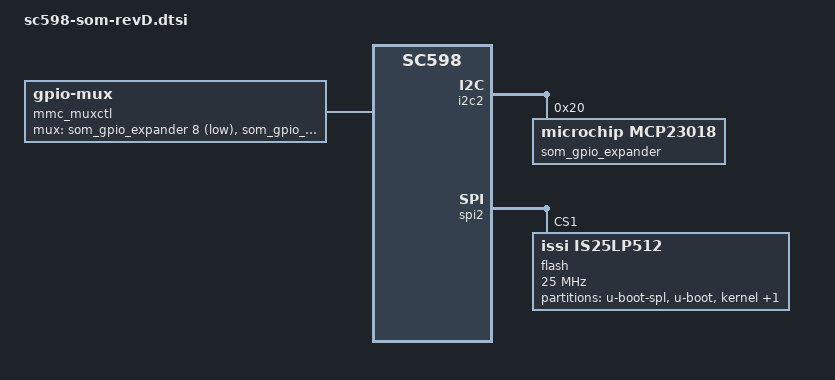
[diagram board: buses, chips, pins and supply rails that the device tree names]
// SPDX-License-Identifier: GPL-2.0
/*
 * Copyright (c) 2025 Analog Devices Incorporated
 */

/dts-v1/;

#include "sc598-som.dtsi"

/ {
	mmc_muxctl: mux-controller {
		compatible = "gpio-mux";
		#mux-state-cells = <1>;
		mux-gpios = <&som_gpio_expander 8 GPIO_ACTIVE_LOW>,
			    <&som_gpio_expander 9 GPIO_ACTIVE_LOW>;
		idle-state = <0>;
	};

	pinctrl-mmc-mux {
		compatible = "pinctrl-multiplexer";

		mmc_som_grp: som-grp {
			mux-states = <&mmc_muxctl 1>;
		};

		mmc_carrier_grp: carrier-grp {
			mux-states = <&mmc_muxctl 2>;
		};
	};
};

&i2c2 {
	som_gpio_expander: gpio@20 {
		compatible = "microchip,mcp23018";
		reg = <0x20>;
		gpio-controller;
		#gpio-cells = <2>;
		drive-pullups;

		led-ds1 {
			gpio-hog;
			gpios = <0 GPIO_ACTIVE_LOW>;
			output-high;
			line-name = "led1-en";
		};

		led-ds2 {
			gpio-hog;
			gpios = <1 GPIO_ACTIVE_LOW>;
			output-high;
			line-name = "led-ds2";
		};

		led-ds3 {
			gpio-hog;
			gpios = <2 GPIO_ACTIVE_LOW>;
			output-high;
			line-name = "led-ds3";
		};

		som-flash-d2d3 {
			gpio-hog;
			gpios = <3 GPIO_ACTIVE_LOW>;
			output-high;
			line-name = "som-flash-d2d3-en";
		};

		som-flash-cs {
			gpio-hog;
			gpios = <4 GPIO_ACTIVE_LOW>;
			output-high;
			line-name = "som-flash-cs-en";
		};

		uart0 {
			gpio-hog;
			gpios = <5 GPIO_ACTIVE_LOW>;
			output-high;
			line-name = "uart0-en";
		};

		uart0-flow-en {
			gpio-hog;
			gpios = <6 GPIO_ACTIVE_LOW>;
			output-low;
			line-name = "uart0-flow-en";
		};

	};
};

&spi2 {
	flash@1 {
		compatible = "issi,is25lp512", "jedec,spi-nor";
		reg = <1>;
		spi-rx-bus-width = <4>;
		spi-max-frequency = <25000000>;

		partitions {
			compatible = "fixed-partitions";
			#address-cells = <1>;
			#size-cells = <1>;

			partition@0 {
				label = "u-boot-spl";
				reg = <0x00000000 0x40000>;
			};

			partition@40000 {
				label = "u-boot";
				reg = <0x00040000 0xc0000>;
			};

			partition@100000 {
				label = "kernel";
				reg = <0x00100000 0xf00000>;
			};

			partition@1000000 {
				label = "rootfs";
				reg = <0x01000000 0x3000000>;
			};
		};
	};
};
